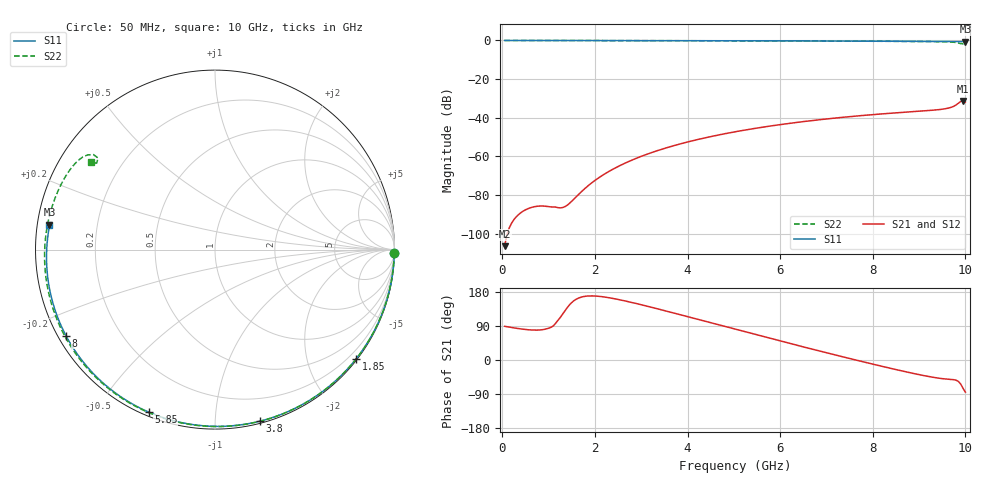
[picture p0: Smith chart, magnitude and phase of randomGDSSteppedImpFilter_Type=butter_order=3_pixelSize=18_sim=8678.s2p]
! freq	dB(S11)	phase(S11)	dB(S12)	phase(S12)
!  dB(S21)	phase(S21)	dB(S22)	phase(S22)
!S-par simulation data
#  GHz  S  DB  R 50
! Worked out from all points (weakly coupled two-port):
!   200 points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, 50 MHz to 10 GHz, reference 50 ohm
!   highest |S21| = -31.25 dB at 9.95 GHz (marker M1); lowest = -106.4 dB at 50 MHz (marker M2)
!   lowest |S11| = -0.6 dB at 10 GHz (marker M3), VSWR 28.58, Z = 1.76 + j3.72 ohm
!   |S11| at or under -10 dB: nowhere
!   |S22| runs from -1.8 to 0.0 dB; largest |S21 - S12| = 0
!   S11 on the Smith chart (normalised r, x): 50 MHz: open; 1.85 GHz: 0.03, -2.92; 3.8 GHz: 0.02, -1.29; 5.85 GHz: 0.02, -0.67; 8 GHz: 0.02, -0.27; 10 GHz: 0.04, +0.07
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0.05  -0.00 -1.0  -106.44 88.9  -106.44 88.9  -0.01 -1.2
0.8  -0.02 -16.5  -85.70 79.2  -85.70 79.2  -0.02 -19.0
1.6  -0.04 -32.8  -80.80 160.7  -80.80 160.7  -0.05 -37.6
1.65  -0.04 -33.8  -79.61 163.6  -79.61 163.6  -0.05 -38.8
1.75  -0.05 -35.8  -77.34 167.3  -77.34 167.3  -0.05 -41.1
1.85  -0.05 -37.8  -75.25 168.9  -75.25 168.9  -0.05 -43.4
2.15  -0.06 -43.8  -69.99 167.2  -69.99 167.2  -0.06 -50.1
2.5  -0.07 -50.7  -65.22 159.8  -65.22 159.8  -0.07 -58.0
2.9  -0.08 -58.4  -60.91 148.8  -60.91 148.8  -0.09 -66.7
3.4  -0.09 -67.9  -56.62 133.5  -56.62 133.5  -0.10 -77.5
3.8  -0.10 -75.4  -53.80 120.8  -53.80 120.8  -0.12 -85.9
5.05  -0.15 -98.1  -47.16 80.5  -47.16 80.5  -0.17 -111.5
5.85  -0.19 -112.3  -44.06 55.0  -44.06 55.0  -0.22 -127.4
6.7  -0.25 -127.1  -41.42 28.4  -41.42 28.4  -0.28 -144.4
8  -0.37 -150.0  -38.38 -10.9  -38.38 -10.9  -0.41 -171.3
8.35  -0.40 -156.4  -37.72 -21.0  -37.72 -21.0  -0.45 -179.0
9  -0.48 -168.5  -36.62 -38.6  -36.62 -38.6  -0.55 165.8
9.55  -0.55 -179.3  -35.40 -49.8  -35.40 -49.8  -0.70 151.3
9.8  -0.59 175.6  -33.36 -53.4  -33.36 -53.4  -1.07 143.3
9.9  -0.60 173.6  -31.54 -63.8  -31.54 -63.8  -1.65 141.9
9.95  -0.60 172.6  -31.25 -74.9  -31.25 -74.9  -1.76 143.9
10  -0.61 171.5  -31.91 -84.8  -31.91 -84.8  -1.46 144.9
